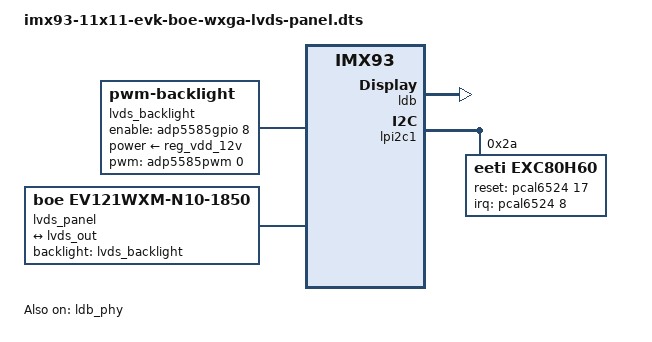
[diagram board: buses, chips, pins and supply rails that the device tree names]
// SPDX-License-Identifier: (GPL-2.0+ OR MIT)
/*
 * Copyright 2022 NXP
 */

#include "imx93-11x11-evk.dts"

/ {
	lvds_backlight: lvds_backlight {
		compatible = "pwm-backlight";
		pwms = <&adp5585pwm 0 100000 0>;
		enable-gpios = <&adp5585gpio 8 GPIO_ACTIVE_HIGH>;
		power-supply = <&reg_vdd_12v>;
		status = "okay";

		brightness-levels = < 0  1  2  3  4  5  6  7  8  9
				     10 11 12 13 14 15 16 17 18 19
				     20 21 22 23 24 25 26 27 28 29
				     30 31 32 33 34 35 36 37 38 39
				     40 41 42 43 44 45 46 47 48 49
				     50 51 52 53 54 55 56 57 58 59
				     60 61 62 63 64 65 66 67 68 69
				     70 71 72 73 74 75 76 77 78 79
				     80 81 82 83 84 85 86 87 88 89
				     90 91 92 93 94 95 96 97 98 99
				    100>;
		default-brightness-level = <80>;
	};

	lvds_panel {
		compatible = "boe,ev121wxm-n10-1850";
		backlight = <&lvds_backlight>;

		port {
			panel_lvds_in: endpoint {
				remote-endpoint = <&lvds_out>;
			};
		};
	};
};

&adv7535 {
	status = "disabled";
};

&dphy {
	status = "disabled";
};

&dsi {
	status = "disabled";
};

&lcdif {
	assigned-clock-rates = <498000000>, <71142857>, <400000000>, <133333333>;
};

&ldb {
	status = "okay";

	lvds-channel@0 {
		status = "okay";

		port@1 {
			reg = <1>;

			lvds_out: endpoint {
				remote-endpoint = <&panel_lvds_in>;
			};
		};
	};
};

&ldb_phy {
	status = "okay";
};

&lpi2c1 {
	exc80h60: touch@2a {
		compatible = "eeti,exc80h60";
		reg = <0x2a>;
		interrupt-parent = <&pcal6524>;
		interrupts = <8 IRQ_TYPE_EDGE_FALLING>;
		reset-gpios = <&pcal6524 17 GPIO_ACTIVE_HIGH>;
		status = "okay";
	};
};
